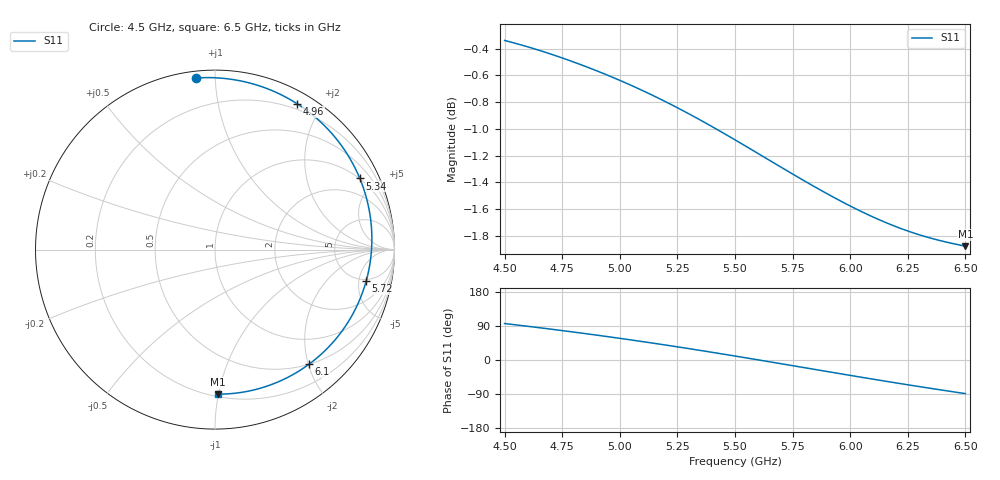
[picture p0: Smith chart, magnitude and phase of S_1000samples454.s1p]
! TOUCHSTONE file generated by CST MICROWAVE STUDIO
! Date and time: Fri Oct 28 05:37:11 2022
! Project name: L.cst
! Parameters = {Di=1.27; Epsilon_r=1.56; InnerDiameter=1.27; Length=2; Lf=10; Lg=60; OuterConductorThickness=0.2921; OuterDiameter=3.6; Wf=3; Wp=41.2; de=1.5; df=6.8; g=0.8; gx=3.96283; gy=4.19386; h=2.34; hf=1.524; px=10.7951; py=10.8053; w=9.7; wx=6.83226; wy=6.61148}
! Header version: 2018
! Port assignment regex: !\s*Touchstone port\s*([0-9]+)\s*=\s*(CST MWS port|CST DS port)\s*([0-9]+|Zmin|Zmax)\s*\(\"(.*)\"\)(\s*mode\s*([0-9]+))?.*
! Touchstone port assignment:
! Touchstone port 1 = CST MWS port 1 ("")
# GHz S DB R 50
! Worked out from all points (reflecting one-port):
!   101 points, 4.5 GHz to 6.5 GHz, reference 50 ohm
!   lowest |S11| = -1.9 dB at 6.5 GHz (marker M1), VSWR 9.28, Z = 10.9 - j49.9 ohm
!   phase of S11 starts at 96 deg and turns -185 deg over the sweep
!   S11 on the Smith chart (normalised r, x): 4.5 GHz: 0.04, +0.90; 4.96 GHz: 0.14, +1.70; 5.34 GHz: 0.99, +4.08; 5.72 GHz: 4.61, -6.28; 6.1 GHz: 0.50, -2.01; 6.5 GHz: 0.22, -1.00
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4.5  -0.34 96.2
4.58  -0.38 90.4
4.64  -0.41 86.0
4.76  -0.47 76.8
4.86  -0.54 68.8
4.96  -0.61 60.6
5  -0.64 57.2
5.06  -0.68 51.9
5.12  -0.73 46.6
5.2  -0.80 39.4
5.26  -0.85 33.8
5.34  -0.92 26.2
5.42  -1.00 18.4
5.5  -1.08 10.5
5.6  -1.18 0.4
5.66  -1.25 -5.7
5.72  -1.31 -11.9
5.76  -1.35 -16.0
5.82  -1.41 -22.2
5.88  -1.47 -28.3
6  -1.58 -40.6
6.1  -1.66 -50.7
6.18  -1.72 -58.6
6.26  -1.77 -66.4
6.32  -1.80 -72.1
6.38  -1.83 -77.7
6.44  -1.86 -83.3
6.5  -1.88 -88.7
